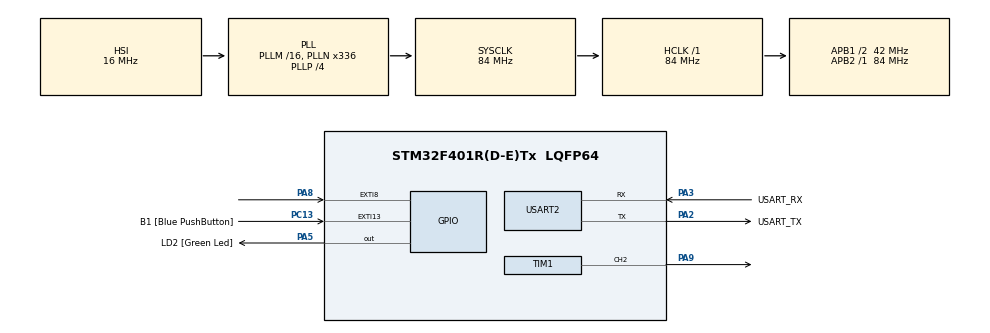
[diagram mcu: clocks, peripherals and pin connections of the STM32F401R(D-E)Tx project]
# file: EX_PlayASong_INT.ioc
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Mcu.Family=STM32F4
Mcu.Name=STM32F401R(D-E)Tx
Mcu.Package=LQFP64
NVIC.EXTI15_10_IRQn=true\:0\:0\:false\:false\:true\:true\:true\:true
NVIC.EXTI9_5_IRQn=true\:1\:0\:true\:false\:true\:true\:true\:true
NVIC.PriorityGroup=NVIC_PRIORITYGROUP_1
NVIC.TIM2_IRQn=true\:0\:0\:false\:false\:true\:true\:true\:true
PA13.GPIO_Label=TMS
PA13.Mode=Serial_Wire
PA13.Signal=SYS_JTMS-SWDIO
PA14.GPIO_Label=TCK
PA14.Mode=Serial_Wire
PA14.Signal=SYS_JTCK-SWCLK
PA2.GPIO_Label=USART_TX
PA2.GPIO_Mode=GPIO_MODE_AF_PP
PA2.GPIO_PuPd=GPIO_NOPULL
PA2.GPIO_Speed=GPIO_SPEED_FREQ_LOW
PA2.Mode=Asynchronous
PA2.Signal=USART2_TX
PA3.GPIO_Label=USART_RX
PA3.GPIO_Mode=GPIO_MODE_AF_PP
PA3.GPIO_PuPd=GPIO_NOPULL
PA3.GPIO_Speed=GPIO_SPEED_FREQ_LOW
PA3.Mode=Asynchronous
PA3.Signal=USART2_RX
PA5.GPIO_Label=LD2 [Green Led]
PA5.GPIO_Mode=GPIO_MODE_OUTPUT_PP
PA5.GPIO_PuPd=GPIO_NOPULL
PA5.GPIO_Speed=GPIO_SPEED_FREQ_LOW
PA5.Signal=GPIO_Output
PA8.Signal=GPXTI8
PA9.Signal=S_TIM1_CH2
PB3.GPIO_Label=SWO
PB3.Signal=SYS_JTDO-SWO
PC13-ANTI_TAMP.GPIO_Label=B1 [Blue PushButton]
PC13-ANTI_TAMP.GPIO_ModeDefaultEXTI=GPIO_MODE_IT_FALLING
PC13-ANTI_TAMP.GPIO_PuPd=GPIO_NOPULL
PC13-ANTI_TAMP.Signal=GPXTI13
PC14-OSC32_IN.Mode=LSE-External-Oscillator
PC14-OSC32_IN.Signal=RCC_OSC32_IN
PC15-OSC32_OUT.Mode=LSE-External-Oscillator
PC15-OSC32_OUT.Signal=RCC_OSC32_OUT
PH0\ -\ OSC_IN.Mode=HSE-External-Clock-Source
PH0\ -\ OSC_IN.Signal=RCC_OSC_IN
PH1\ -\ OSC_OUT.Mode=HSE-External-Clock-Source
PH1\ -\ OSC_OUT.Signal=RCC_OSC_OUT
ProjectManager.HeapSize=0x200
ProjectManager.StackSize=0x400
ProjectManager.TargetToolchain=STM32CubeIDE
RCC.48MHZClocksFreq_Value=48000000
RCC.AHBFreq_Value=84000000
RCC.APB1CLKDivider=RCC_HCLK_DIV2
RCC.APB1Freq_Value=42000000
RCC.APB1TimFreq_Value=84000000
RCC.APB2Freq_Value=84000000
RCC.APB2TimFreq_Value=84000000
RCC.CortexFreq_Value=84000000
RCC.HCLKFreq_Value=84000000
RCC.HSE_VALUE=8000000
RCC.HSI_VALUE=16000000
RCC.PLLN=336
RCC.PLLP=RCC_PLLP_DIV4
RCC.PLLQ=7
RCC.SYSCLKFreq_VALUE=84000000
RCC.SYSCLKSource=RCC_SYSCLKSOURCE_PLLCLK
RCC.VCOOutputFreq_Value=336000000
SH.S_TIM1_CH2.0=TIM1_CH2,PWM Generation2 CH2
TIM1.Channel-PWM\ Generation2\ CH2=TIM_CHANNEL_2
USART2.VirtualMode=VM_ASYNC
VP_TIM1_VS_ClockSourceINT.Mode=Internal
VP_TIM2_VS_ClockSourceINT.Mode=Internal
board=NUCLEO-F401RE

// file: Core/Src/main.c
/* USER CODE BEGIN Header */
/**
  ******************************************************************************
  * @file           : main.c
  * @brief          : Main program body
  ******************************************************************************
  * @attention
  *
  * Copyright (c) 2022 STMicroelectronics.
  * All rights reserved.
  *
  * This software is licensed under terms that can be found in the LICENSE file
  * in the root directory of this software component.
  * If no LICENSE file comes with this software, it is provided AS-IS.
  *
  ******************************************************************************
  */
/* USER CODE END Header */
#include "main.h"

/* USER CODE BEGIN PTD */
#define SOL 2143
#define LA 1910
#define FA 2407
#define MI 2546
#define RE 2858
#define DO 3207
#define N 24
#define TEMPO 75
/* USER CODE END PTD */

TIM_HandleTypeDef htim1;
TIM_HandleTypeDef htim2;

UART_HandleTypeDef huart2;

/* USER CODE BEGIN PV */
typedef struct {
	int counter;
	int duration;
}nota;
//assigning notes to their duration

nota sol_1 ={SOL, 3};
nota la_2 = {LA, 1};
nota sol_3 = {SOL, 2};
nota fa_4 = {FA, 2};
nota mi_5 = {MI, 2};
nota fa_6 = {FA, 2};
nota sol_7 = {SOL, 4};
nota re_8 = {RE, 2};
nota mi_9 = {MI, 2};
nota fa_10 = {FA, 4};
nota mi_11 = {MI, 2};
nota fa_12 = {FA, 2};
nota sol_13 = {SOL, 4};
nota sol_14 = {SOL, 3};
nota la_15 = {LA, 1};
nota sol_16 = {SOL, 2};
nota fa_17 = {FA, 2};
nota mi_18 = {MI, 2};
nota fa_19 = {FA, 2};
nota sol_20 = {SOL, 4};
nota re_21 = {RE, 4};
nota sol_22 = {SOL, 4};
nota mi_23 = {MI, 2};
nota do_24 = {DO, 6};
int flag = 0;
/* USER CODE END PV */

void SystemClock_Config(void);
static void MX_GPIO_Init(void);
static void MX_USART2_UART_Init(void);
static void MX_TIM1_Init(void);
static void MX_TIM2_Init(void);

/* USER CODE BEGIN 0 */
int buttonflag = 1;

void HAL_GPIO_EXTI_Callback(uint16_t GPIO_Pin)
{

   if(GPIO_Pin == GPIO_PIN_8 && !flag)
   {
	 flag = 1;
     play_song();
     __HAL_GPIO_EXTI_CLEAR_IT(GPIO_Pin);
   }
   else if(GPIO_Pin == GPIO_PIN_13)
	   buttonflag = 0;
}

void play_song()
{
	buttonflag = 1;

	nota london_bridge[N] = {sol_1, la_2, sol_3, fa_4, mi_5, fa_6, sol_7, re_8, mi_9, fa_10, mi_11, fa_12, sol_13, sol_14, la_15, sol_16, fa_17, mi_18, fa_19, sol_20, re_21, sol_22, mi_23, do_24};
	for(int i=0; i<24 && buttonflag; i++){
	 	  play_note(london_bridge[i]);

	}
	flag = 0;
}

void play_note(nota note)
{

	  TIM_OC_InitTypeDef sConfigOC = {0};

	  /* USER CODE BEGIN TIM1_Init 1 */

	  /* USER CODE END TIM1_Init 1 */
	  htim1.Instance = TIM1;
	  htim1.Init.Prescaler = 100-1;
	  htim1.Init.CounterMode = TIM_COUNTERMODE_UP;
	  htim1.Init.Period = note.counter - 1;
	  htim1.Init.ClockDivision = TIM_CLOCKDIVISION_DIV1;
	  htim1.Init.RepetitionCounter = 0;
	  htim1.Init.AutoReloadPreload = TIM_AUTORELOAD_PRELOAD_DISABLE;
	  if (HAL_TIM_PWM_Init(&htim1) != HAL_OK)
	  {
	    Error_Handler();
	  }

	  sConfigOC.OCMode = TIM_OCMODE_PWM1;
	  sConfigOC.Pulse = note.counter/2 - 1;
	  sConfigOC.OCPolarity = TIM_OCPOLARITY_HIGH;
	  sConfigOC.OCNPolarity = TIM_OCNPOLARITY_HIGH;
	  sConfigOC.OCFastMode = TIM_OCFAST_DISABLE;
	  sConfigOC.OCIdleState = TIM_OCIDLESTATE_RESET;
	  sConfigOC.OCNIdleState = TIM_OCNIDLESTATE_RESET;
	  if (HAL_TIM_PWM_ConfigChannel(&htim1, &sConfigOC, TIM_CHANNEL_2) != HAL_OK)
	  {
	    Error_Handler();
	  }
	  HAL_TIM_PWM_Start(&htim1, TIM_CHANNEL_2);
	  HAL_Delay(note.duration * TEMPO);
	  HAL_TIM_PWM_Stop(&htim1, TIM_CHANNEL_2);
}
/* USER CODE END 0 */

int main(void)
{

  /* MCU Configuration--------------------------------------------------------*/

  /* Reset of all peripherals, Initializes the Flash interface and the Systick. */
  HAL_Init();

  /* Configure the system clock */
  SystemClock_Config();

  /* Initialize all configured peripherals */
  MX_GPIO_Init();
  MX_USART2_UART_Init();
  MX_TIM1_Init();
  MX_TIM2_Init();

  /* Infinite loop */
  while (1)
  {

  }
}

void SystemClock_Config(void)
{
  RCC_OscInitTypeDef RCC_OscInitStruct = {0};
  RCC_ClkInitTypeDef RCC_ClkInitStruct = {0};

  /** Configure the main internal regulator output voltage
  */
  __HAL_RCC_PWR_CLK_ENABLE();
  __HAL_PWR_VOLTAGESCALING_CONFIG(PWR_REGULATOR_VOLTAGE_SCALE2);
  /** Initializes the RCC Oscillators according to the specified parameters
  * in the RCC_OscInitTypeDef structure.
  */
  RCC_OscInitStruct.OscillatorType = RCC_OSCILLATORTYPE_HSI;
  RCC_OscInitStruct.HSIState = RCC_HSI_ON;
  RCC_OscInitStruct.HSICalibrationValue = RCC_HSICALIBRATION_DEFAULT;
  RCC_OscInitStruct.PLL.PLLState = RCC_PLL_ON;
  RCC_OscInitStruct.PLL.PLLSource = RCC_PLLSOURCE_HSI;
  RCC_OscInitStruct.PLL.PLLM = 16;
  RCC_OscInitStruct.PLL.PLLN = 336;
  RCC_OscInitStruct.PLL.PLLP = RCC_PLLP_DIV4;
  RCC_OscInitStruct.PLL.PLLQ = 7;
  if (HAL_RCC_OscConfig(&RCC_OscInitStruct) != HAL_OK)
  {
    Error_Handler();
  }
  /** Initializes the CPU, AHB and APB buses clocks
  */
  RCC_ClkInitStruct.ClockType = RCC_CLOCKTYPE_HCLK|RCC_CLOCKTYPE_SYSCLK
                              |RCC_CLOCKTYPE_PCLK1|RCC_CLOCKTYPE_PCLK2;
  RCC_ClkInitStruct.SYSCLKSource = RCC_SYSCLKSOURCE_PLLCLK;
  RCC_ClkInitStruct.AHBCLKDivider = RCC_SYSCLK_DIV1;
  RCC_ClkInitStruct.APB1CLKDivider = RCC_HCLK_DIV2;
  RCC_ClkInitStruct.APB2CLKDivider = RCC_HCLK_DIV1;

  if (HAL_RCC_ClockConfig(&RCC_ClkInitStruct, FLASH_LATENCY_2) != HAL_OK)
  {
    Error_Handler();
  }
}

static void MX_TIM1_Init(void)
{

  TIM_ClockConfigTypeDef sClockSourceConfig = {0};
  TIM_MasterConfigTypeDef sMasterConfig = {0};
  TIM_OC_InitTypeDef sConfigOC = {0};
  TIM_BreakDeadTimeConfigTypeDef sBreakDeadTimeConfig = {0};

  htim1.Instance = TIM1;
  htim1.Init.Prescaler = 0;
  htim1.Init.CounterMode = TIM_COUNTERMODE_UP;
  htim1.Init.Period = 65535;
  htim1.Init.ClockDivision = TIM_CLOCKDIVISION_DIV1;
  htim1.Init.RepetitionCounter = 0;
  htim1.Init.AutoReloadPreload = TIM_AUTORELOAD_PRELOAD_DISABLE;
  if (HAL_TIM_Base_Init(&htim1) != HAL_OK)
  {
    Error_Handler();
  }
  sClockSourceConfig.ClockSource = TIM_CLOCKSOURCE_INTERNAL;
  if (HAL_TIM_ConfigClockSource(&htim1, &sClockSourceConfig) != HAL_OK)
  {
    Error_Handler();
  }
  if (HAL_TIM_PWM_Init(&htim1) != HAL_OK)
  {
    Error_Handler();
  }
  sMasterConfig.MasterOutputTrigger = TIM_TRGO_RESET;
  sMasterConfig.MasterSlaveMode = TIM_MASTERSLAVEMODE_DISABLE;
  if (HAL_TIMEx_MasterConfigSynchronization(&htim1, &sMasterConfig) != HAL_OK)
  {
    Error_Handler();
  }
  sConfigOC.OCMode = TIM_OCMODE_PWM1;
  sConfigOC.Pulse = 0;
  sConfigOC.OCPolarity = TIM_OCPOLARITY_HIGH;
  sConfigOC.OCNPolarity = TIM_OCNPOLARITY_HIGH;
  sConfigOC.OCFastMode = TIM_OCFAST_DISABLE;
  sConfigOC.OCIdleState = TIM_OCIDLESTATE_RESET;
  sConfigOC.OCNIdleState = TIM_OCNIDLESTATE_RESET;
  if (HAL_TIM_PWM_ConfigChannel(&htim1, &sConfigOC, TIM_CHANNEL_2) != HAL_OK)
  {
    Error_Handler();
  }
  sBreakDeadTimeConfig.OffStateRunMode = TIM_OSSR_DISABLE;
  sBreakDeadTimeConfig.OffStateIDLEMode = TIM_OSSI_DISABLE;
  sBreakDeadTimeConfig.LockLevel = TIM_LOCKLEVEL_OFF;
  sBreakDeadTimeConfig.DeadTime = 0;
  sBreakDeadTimeConfig.BreakState = TIM_BREAK_DISABLE;
  sBreakDeadTimeConfig.BreakPolarity = TIM_BREAKPOLARITY_HIGH;
  sBreakDeadTimeConfig.AutomaticOutput = TIM_AUTOMATICOUTPUT_DISABLE;
  if (HAL_TIMEx_ConfigBreakDeadTime(&htim1, &sBreakDeadTimeConfig) != HAL_OK)
  {
    Error_Handler();
  }
  HAL_TIM_MspPostInit(&htim1);

}

static void MX_TIM2_Init(void)
{

  TIM_ClockConfigTypeDef sClockSourceConfig = {0};
  TIM_MasterConfigTypeDef sMasterConfig = {0};

  htim2.Instance = TIM2;
  htim2.Init.Prescaler = 0;
  htim2.Init.CounterMode = TIM_COUNTERMODE_UP;
  htim2.Init.Period = 4294967295;
  htim2.Init.ClockDivision = TIM_CLOCKDIVISION_DIV1;
  htim2.Init.AutoReloadPreload = TIM_AUTORELOAD_PRELOAD_DISABLE;
  if (HAL_TIM_Base_Init(&htim2) != HAL_OK)
  {
    Error_Handler();
  }
  sClockSourceConfig.ClockSource = TIM_CLOCKSOURCE_INTERNAL;
  if (HAL_TIM_ConfigClockSource(&htim2, &sClockSourceConfig) != HAL_OK)
  {
    Error_Handler();
  }
  sMasterConfig.MasterOutputTrigger = TIM_TRGO_RESET;
  sMasterConfig.MasterSlaveMode = TIM_MASTERSLAVEMODE_DISABLE;
  if (HAL_TIMEx_MasterConfigSynchronization(&htim2, &sMasterConfig) != HAL_OK)
  {
    Error_Handler();
  }

}

static void MX_USART2_UART_Init(void)
{

  huart2.Instance = USART2;
  huart2.Init.BaudRate = 115200;
  huart2.Init.WordLength = UART_WORDLENGTH_8B;
  huart2.Init.StopBits = UART_STOPBITS_1;
  huart2.Init.Parity = UART_PARITY_NONE;
  huart2.Init.Mode = UART_MODE_TX_RX;
  huart2.Init.HwFlowCtl = UART_HWCONTROL_NONE;
  huart2.Init.OverSampling = UART_OVERSAMPLING_16;
  if (HAL_UART_Init(&huart2) != HAL_OK)
  {
    Error_Handler();
  }

}

static void MX_GPIO_Init(void)
{
  GPIO_InitTypeDef GPIO_InitStruct = {0};

  /* GPIO Ports Clock Enable */
  __HAL_RCC_GPIOC_CLK_ENABLE();
  __HAL_RCC_GPIOH_CLK_ENABLE();
  __HAL_RCC_GPIOA_CLK_ENABLE();
  __HAL_RCC_GPIOB_CLK_ENABLE();

  /*Configure GPIO pin Output Level */
  HAL_GPIO_WritePin(LD2_GPIO_Port, LD2_Pin, GPIO_PIN_RESET);

  /*Configure GPIO pin : B1_Pin */
  GPIO_InitStruct.Pin = B1_Pin;
  GPIO_InitStruct.Mode = GPIO_MODE_IT_FALLING;
  GPIO_InitStruct.Pull = GPIO_NOPULL;
  HAL_GPIO_Init(B1_GPIO_Port, &GPIO_InitStruct);

  /*Configure GPIO pin : LD2_Pin */
  GPIO_InitStruct.Pin = LD2_Pin;
  GPIO_InitStruct.Mode = GPIO_MODE_OUTPUT_PP;
  GPIO_InitStruct.Pull = GPIO_NOPULL;
  GPIO_InitStruct.Speed = GPIO_SPEED_FREQ_LOW;
  HAL_GPIO_Init(LD2_GPIO_Port, &GPIO_InitStruct);

  /*Configure GPIO pin : PA8 */
  GPIO_InitStruct.Pin = GPIO_PIN_8;
  GPIO_InitStruct.Mode = GPIO_MODE_IT_RISING;
  GPIO_InitStruct.Pull = GPIO_NOPULL;
  HAL_GPIO_Init(GPIOA, &GPIO_InitStruct);

  /* EXTI interrupt init*/
  HAL_NVIC_SetPriority(EXTI9_5_IRQn, 1, 0);
  HAL_NVIC_EnableIRQ(EXTI9_5_IRQn);

  HAL_NVIC_SetPriority(EXTI15_10_IRQn, 0, 0);
  HAL_NVIC_EnableIRQ(EXTI15_10_IRQn);

}

void Error_Handler(void)
{
  __disable_irq();
  while (1)
  {
  }
}
